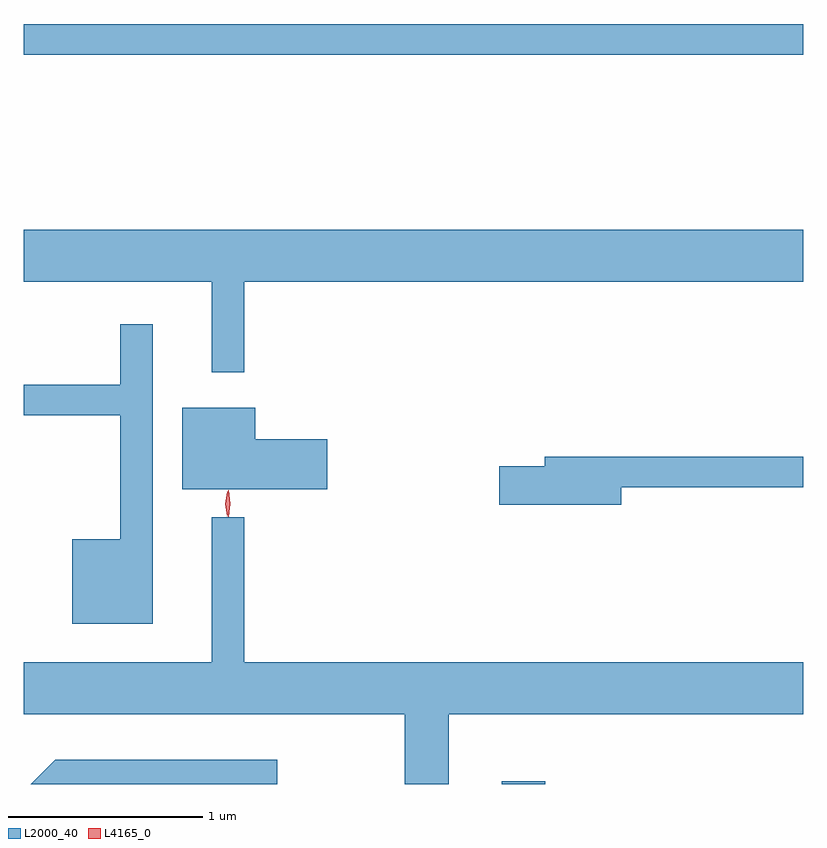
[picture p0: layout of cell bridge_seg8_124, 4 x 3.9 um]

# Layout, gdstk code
import gdstk
lib = gdstk.Library(unit=1e-6, precision=1e-09)
def R(c, l, rs):  # rectangles x0, y0, x1, y1
    for r in rs: c.add(gdstk.rectangle(r[:2], r[2:], *l))
def P(c, l, *ps):  # polygons
    for p in ps: c.add(gdstk.Polygon(p, *l))
L2000_40 = (2000, 40)
L4165_0 = (4165, 0)

bridge_seg8_124 = lib.new_cell('bridge_seg8_124')
R(bridge_seg8_124, L2000_40, [(1751.151,1824.959,1751.374,1824.974), (1748.697,1828.701,1752.697,1828.859)])
P(bridge_seg8_124, L2000_40, [(1749.829,1827.536),(1752.697,1827.536),(1752.697,1827.804),(1748.697,1827.804),(1748.697,1827.536),(1749.661,1827.536),(1749.661,1827.073),(1749.829,1827.073)],
  [(1749.359,1827.318),(1749.191,1827.318),(1749.191,1827.009),(1748.697,1827.009),(1748.697,1826.851),(1749.191,1826.851),(1749.191,1826.214),(1748.946,1826.214),(1748.946,1825.781),(1749.359,1825.781)],
  [(1750.254,1826.729),(1749.884,1826.729),(1749.884,1826.889),(1749.511,1826.889),(1749.511,1826.471),(1750.254,1826.471)],
  [(1751.764,1826.481),(1752.697,1826.481),(1752.697,1826.639),(1751.371,1826.639),(1751.371,1826.589),(1751.136,1826.589),(1751.136,1826.391),(1751.764,1826.391)],
  [(1750.879,1825.316),(1752.697,1825.316),(1752.697,1825.584),(1749.829,1825.584),(1749.829,1826.328),(1749.661,1826.328),(1749.661,1825.584),(1748.697,1825.584),(1748.697,1825.316),(1750.651,1825.316),(1750.651,1824.959),(1750.879,1824.959)],
  [(1749.998,1825.084),(1748.859,1825.084),(1748.733,1824.959),(1749.998,1824.959)])
P(bridge_seg8_124, L4165_0, [(1749.741,1826.333),(1749.731,1826.396),(1749.74,1826.459),(1749.74,1826.46),(1749.741,1826.459),(1749.751,1826.396),(1749.742,1826.333),(1749.742,1826.333)],
  [(1749.747,1826.33),(1749.747,1826.33),(1749.737,1826.398),(1749.747,1826.466),(1749.747,1826.466),(1749.748,1826.466),(1749.757,1826.398),(1749.748,1826.33)])

lib.write_gds('bridge_seg8_124.gds')
